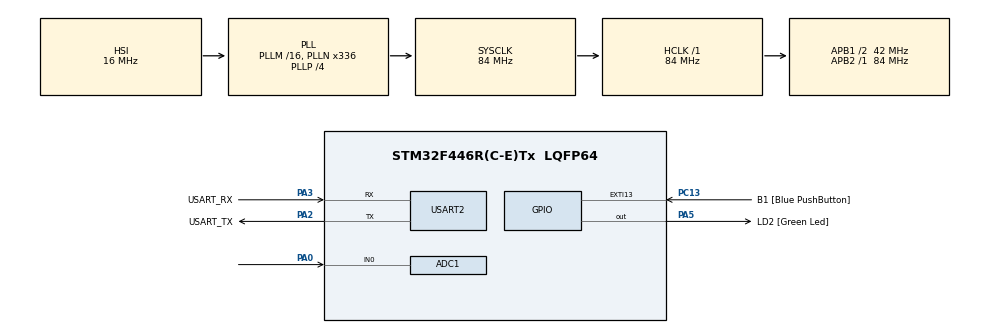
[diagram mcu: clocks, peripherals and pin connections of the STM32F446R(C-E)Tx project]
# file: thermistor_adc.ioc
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ADC1.Channel-0\#ChannelRegularConversion=ADC_CHANNEL_0
ADC1.NbrOfConversionFlag=1
ADC1.Rank-0\#ChannelRegularConversion=1
ADC1.SamplingTime-0\#ChannelRegularConversion=ADC_SAMPLETIME_84CYCLES
ADC1.master=1
Mcu.Family=STM32F4
Mcu.Name=STM32F446R(C-E)Tx
Mcu.Package=LQFP64
NVIC.PriorityGroup=NVIC_PRIORITYGROUP_0
PA0-WKUP.Signal=ADCx_IN0
PA13.GPIO_Label=TMS
PA13.Mode=Serial_Wire
PA13.Signal=SYS_JTMS-SWDIO
PA14.GPIO_Label=TCK
PA14.Mode=Serial_Wire
PA14.Signal=SYS_JTCK-SWCLK
PA2.GPIO_Label=USART_TX
PA2.Mode=Asynchronous
PA2.Signal=USART2_TX
PA3.GPIO_Label=USART_RX
PA3.Mode=Asynchronous
PA3.Signal=USART2_RX
PA5.GPIO_Label=LD2 [Green Led]
PA5.Signal=GPIO_Output
PB3.GPIO_Label=SWO
PB3.Signal=SYS_JTDO-SWO
PC13.GPIO_Label=B1 [Blue PushButton]
PC13.GPIO_ModeDefaultEXTI=GPIO_MODE_IT_FALLING
PC13.Signal=GPXTI13
PC14-OSC32_IN.Signal=RCC_OSC32_IN
PC15-OSC32_OUT.Signal=RCC_OSC32_OUT
PH0-OSC_IN.Signal=RCC_OSC_IN
PH1-OSC_OUT.Signal=RCC_OSC_OUT
ProjectManager.HeapSize=0x200
ProjectManager.StackSize=0x400
ProjectManager.TargetToolchain=STM32CubeIDE
RCC.AHBFreq_Value=84000000
RCC.APB1CLKDivider=RCC_HCLK_DIV2
RCC.APB1Freq_Value=42000000
RCC.APB1TimFreq_Value=84000000
RCC.APB2Freq_Value=84000000
RCC.APB2TimFreq_Value=84000000
RCC.CortexFreq_Value=84000000
RCC.FLatency-AdvancedSettings=FLASH_LATENCY_2
RCC.HCLKFreq_Value=84000000
RCC.HSE_VALUE=8000000
RCC.HSI_VALUE=16000000
RCC.LSE_VALUE=32768
RCC.PLLN=336
RCC.PLLP=RCC_PLLP_DIV4
RCC.SYSCLKFreq_VALUE=84000000
RCC.SYSCLKSource=RCC_SYSCLKSOURCE_PLLCLK
RCC.USBFreq_Value=168000000
RCC.VCOOutputFreq_Value=336000000
SH.ADCx_IN0.0=ADC1_IN0,IN0
USART2.VirtualMode=VM_ASYNC
board=NUCLEO-F446RE

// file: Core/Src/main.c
/* USER CODE BEGIN Header */
/**
  ******************************************************************************
  * @file           : main.c
  * @brief          : Main program body
  ******************************************************************************
  * @attention
  *
  * Copyright (c) 2026 STMicroelectronics.
  * All rights reserved.
  *
  * This software is licensed under terms that can be found in the LICENSE file
  * in the root directory of this software component.
  * If no LICENSE file comes with this software, it is provided AS-IS.
  *
  ******************************************************************************
  */
/* USER CODE END Header */
#include "main.h"

/* USER CODE BEGIN Includes */
#include <string.h>
#include <stdio.h>
#include <math.h>
/* USER CODE END Includes */

/* USER CODE BEGIN PM */
#define ADC_TIMEOUT_MS 10
#define R_FIXED 9870.0f // measured fixed resistor (ohms)
#define R_0 10000.0f // thermistor resistance at 25 C
#define T_0 298.15f // 25 C in Kelvin
#define BETA 3950.0f
#define KELVIN_OFFSET 273.15f

/* USER CODE END PM */

ADC_HandleTypeDef hadc1;

UART_HandleTypeDef huart2;

void SystemClock_Config(void);
static void MX_GPIO_Init(void);
static void MX_USART2_UART_Init(void);
static void MX_ADC1_Init(void);

int main(void)
{

  /* MCU Configuration--------------------------------------------------------*/

  /* Reset of all peripherals, Initializes the Flash interface and the Systick. */
  HAL_Init();

  /* Configure the system clock */
  SystemClock_Config();

  /* Initialize all configured peripherals */
  MX_GPIO_Init();
  MX_USART2_UART_Init();
  MX_ADC1_Init();
  /* USER CODE BEGIN 2 */
  char buffer[32];
  /* USER CODE END 2 */

  /* Infinite loop */
  while (1)
  {

    /* USER CODE BEGIN 3 */
	  HAL_StatusTypeDef status = HAL_ADC_Start(&hadc1);
	  if(status == HAL_OK){
		  status = HAL_ADC_PollForConversion(&hadc1, ADC_TIMEOUT_MS);
		  if(status == HAL_OK){
			  uint32_t adc = HAL_ADC_GetValue(&hadc1);
			  float res_temp = R_FIXED * (4095.0f / adc - 1.0f);
			  float invert_t = 1.0f / T_0 + ((1.0f / BETA) * logf(res_temp / R_0));
			  float temp_k = 1.0f / invert_t;
			  float temp_c = temp_k - KELVIN_OFFSET;
			  float temp_f = temp_c * (9.0f / 5.0f) + 32.0f;

			  snprintf(buffer, sizeof(buffer), "ADC: %.2f degrees F\r\n", temp_f);
			  HAL_UART_Transmit(&huart2, (const uint8_t *)buffer, strlen(buffer), HAL_MAX_DELAY);
			  HAL_Delay(1000);
		  }else{
			  snprintf(buffer, sizeof(buffer), "Poll error: %d\r\n", status);
			  HAL_UART_Transmit(&huart2, (const uint8_t *)buffer, strlen(buffer), HAL_MAX_DELAY);
		  }

	  }else{
		  snprintf(buffer, sizeof(buffer), "Start error: %d\r\n", status);
		  HAL_UART_Transmit(&huart2, (const uint8_t *)buffer, strlen(buffer), HAL_MAX_DELAY);
	  }

	  HAL_Delay(1000);
  }
  /* USER CODE END 3 */
}

void SystemClock_Config(void)
{
  RCC_OscInitTypeDef RCC_OscInitStruct = {0};
  RCC_ClkInitTypeDef RCC_ClkInitStruct = {0};

  /** Configure the main internal regulator output voltage
  */
  __HAL_RCC_PWR_CLK_ENABLE();
  __HAL_PWR_VOLTAGESCALING_CONFIG(PWR_REGULATOR_VOLTAGE_SCALE3);

  /** Initializes the RCC Oscillators according to the specified parameters
  * in the RCC_OscInitTypeDef structure.
  */
  RCC_OscInitStruct.OscillatorType = RCC_OSCILLATORTYPE_HSI;
  RCC_OscInitStruct.HSIState = RCC_HSI_ON;
  RCC_OscInitStruct.HSICalibrationValue = RCC_HSICALIBRATION_DEFAULT;
  RCC_OscInitStruct.PLL.PLLState = RCC_PLL_ON;
  RCC_OscInitStruct.PLL.PLLSource = RCC_PLLSOURCE_HSI;
  RCC_OscInitStruct.PLL.PLLM = 16;
  RCC_OscInitStruct.PLL.PLLN = 336;
  RCC_OscInitStruct.PLL.PLLP = RCC_PLLP_DIV4;
  RCC_OscInitStruct.PLL.PLLQ = 2;
  RCC_OscInitStruct.PLL.PLLR = 2;
  if (HAL_RCC_OscConfig(&RCC_OscInitStruct) != HAL_OK)
  {
    Error_Handler();
  }

  /** Initializes the CPU, AHB and APB buses clocks
  */
  RCC_ClkInitStruct.ClockType = RCC_CLOCKTYPE_HCLK|RCC_CLOCKTYPE_SYSCLK
                              |RCC_CLOCKTYPE_PCLK1|RCC_CLOCKTYPE_PCLK2;
  RCC_ClkInitStruct.SYSCLKSource = RCC_SYSCLKSOURCE_PLLCLK;
  RCC_ClkInitStruct.AHBCLKDivider = RCC_SYSCLK_DIV1;
  RCC_ClkInitStruct.APB1CLKDivider = RCC_HCLK_DIV2;
  RCC_ClkInitStruct.APB2CLKDivider = RCC_HCLK_DIV1;

  if (HAL_RCC_ClockConfig(&RCC_ClkInitStruct, FLASH_LATENCY_2) != HAL_OK)
  {
    Error_Handler();
  }
}

static void MX_ADC1_Init(void)
{

  ADC_ChannelConfTypeDef sConfig = {0};

  /** Configure the global features of the ADC (Clock, Resolution, Data Alignment and number of conversion)
  */
  hadc1.Instance = ADC1;
  hadc1.Init.ClockPrescaler = ADC_CLOCK_SYNC_PCLK_DIV4;
  hadc1.Init.Resolution = ADC_RESOLUTION_12B;
  hadc1.Init.ScanConvMode = DISABLE;
  hadc1.Init.ContinuousConvMode = DISABLE;
  hadc1.Init.DiscontinuousConvMode = DISABLE;
  hadc1.Init.ExternalTrigConvEdge = ADC_EXTERNALTRIGCONVEDGE_NONE;
  hadc1.Init.ExternalTrigConv = ADC_SOFTWARE_START;
  hadc1.Init.DataAlign = ADC_DATAALIGN_RIGHT;
  hadc1.Init.NbrOfConversion = 1;
  hadc1.Init.DMAContinuousRequests = DISABLE;
  hadc1.Init.EOCSelection = ADC_EOC_SINGLE_CONV;
  if (HAL_ADC_Init(&hadc1) != HAL_OK)
  {
    Error_Handler();
  }

  /** Configure for the selected ADC regular channel its corresponding rank in the sequencer and its sample time.
  */
  sConfig.Channel = ADC_CHANNEL_0;
  sConfig.Rank = 1;
  sConfig.SamplingTime = ADC_SAMPLETIME_84CYCLES;
  if (HAL_ADC_ConfigChannel(&hadc1, &sConfig) != HAL_OK)
  {
    Error_Handler();
  }

}

static void MX_USART2_UART_Init(void)
{

  huart2.Instance = USART2;
  huart2.Init.BaudRate = 115200;
  huart2.Init.WordLength = UART_WORDLENGTH_8B;
  huart2.Init.StopBits = UART_STOPBITS_1;
  huart2.Init.Parity = UART_PARITY_NONE;
  huart2.Init.Mode = UART_MODE_TX_RX;
  huart2.Init.HwFlowCtl = UART_HWCONTROL_NONE;
  huart2.Init.OverSampling = UART_OVERSAMPLING_16;
  if (HAL_UART_Init(&huart2) != HAL_OK)
  {
    Error_Handler();
  }

}

static void MX_GPIO_Init(void)
{
  GPIO_InitTypeDef GPIO_InitStruct = {0};

  /* GPIO Ports Clock Enable */
  __HAL_RCC_GPIOC_CLK_ENABLE();
  __HAL_RCC_GPIOH_CLK_ENABLE();
  __HAL_RCC_GPIOA_CLK_ENABLE();
  __HAL_RCC_GPIOB_CLK_ENABLE();

  /*Configure GPIO pin Output Level */
  HAL_GPIO_WritePin(LD2_GPIO_Port, LD2_Pin, GPIO_PIN_RESET);

  /*Configure GPIO pin : B1_Pin */
  GPIO_InitStruct.Pin = B1_Pin;
  GPIO_InitStruct.Mode = GPIO_MODE_IT_FALLING;
  GPIO_InitStruct.Pull = GPIO_NOPULL;
  HAL_GPIO_Init(B1_GPIO_Port, &GPIO_InitStruct);

  /*Configure GPIO pin : LD2_Pin */
  GPIO_InitStruct.Pin = LD2_Pin;
  GPIO_InitStruct.Mode = GPIO_MODE_OUTPUT_PP;
  GPIO_InitStruct.Pull = GPIO_NOPULL;
  GPIO_InitStruct.Speed = GPIO_SPEED_FREQ_LOW;
  HAL_GPIO_Init(LD2_GPIO_Port, &GPIO_InitStruct);

}

void Error_Handler(void)
{
  __disable_irq();
  while (1)
  {
  }
}
